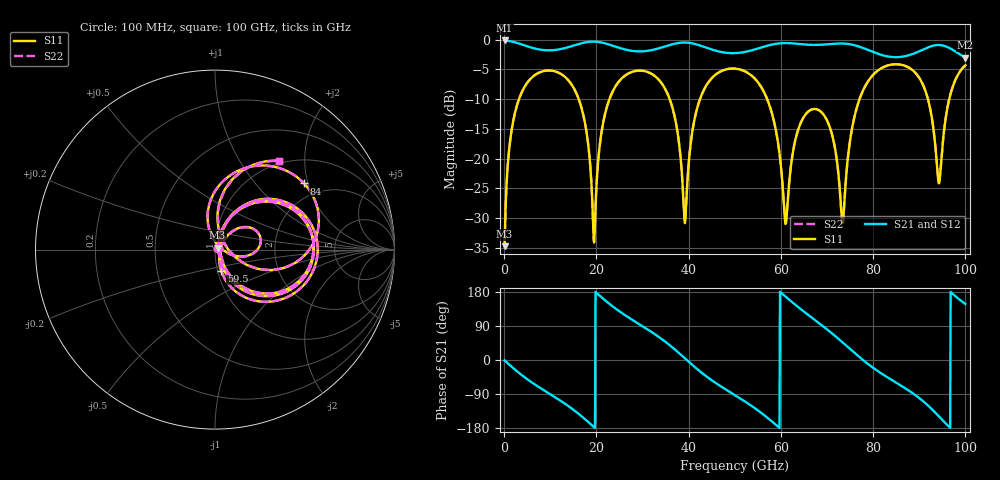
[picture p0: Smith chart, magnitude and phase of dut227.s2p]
! Touchstone file exported from HFSS 2026.1.0
!  File:  C:/ffzhzh/LocalFiles/Ansys_Project_Files/temp_train_TSV_RDL_227_1783664207_26216.aedt
!  Generated:  02:25:58 PM Jul 10, 2026
!  Design:  TSV_RDL
!  Project:  temp_train_TSV_RDL_227_1783664207_26216
! Variables:
!  h_bsmrdl = 3.7um
!  h_ox = 20um
!  h_rdl = 5um
!  h_sub = 68.25um
!  h_tmrdl = 2.59um
!  h_tsv = 68.25um
!  h_via = 3um
!  l_bsmrdl = 470.42um
!  l_sub = 3118.3um
!  l_tmrdl = 291.99um
!  m_sub = 200um
!  pitch = 55.98um
!  r_tsv = 10.13um
!  s_tmrdl = 10um
!  w_bsmrdl = 21.69um
!  w_sub = 500um
!  w_tmrdl = 24.67um
!  x_tsv_center1 = 304.325um
!  x_tsv_center2 = 796.435um
!  x_tsv_center3 = 1113.095um
!  x_tsv_center4 = 1605.205um
!  x_tsv_center5 = 1921.865um
!  x_tsv_center6 = 2413.975um
# GHz S MA R 50.000000
! Terminal data exported
! Port[1] = TM_RDL1_1_T1
! Port[2] = TM_RDL5_1_T1
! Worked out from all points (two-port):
!   1000 points, 100 MHz to 100 GHz, reference 50 ohm
!   highest |S21| = -0.12 dB at 100 MHz (marker M1); lowest = -3.0 dB at 100 GHz (marker M2)
!   |S21| within 3 dB of the highest: start of sweep to end of sweep
!   lowest |S11| = -34.7 dB at 100 MHz (marker M3), VSWR 1.04, Z = 51.4 + j1.19 ohm
!   |S11| at or under -10 dB: 16.17 GHz to 22.82 GHz (6.656 GHz wide, 34.1 % of centre); 35.89 GHz to 42.45 GHz (6.562 GHz wide, 16.8 % of centre); 57.03 GHz to 77.04 GHz (20.01 GHz wide, 29.9 % of centre) (the widest 3 of 5)
!   |S22| runs from -34.7 to -4.1 dB; largest |S21 - S12| = 3.2e-12
!   S11 on the Smith chart (normalised r, x): 100 MHz: 1.03, +0.02; 59.5 GHz: 1.04, -0.26; 84 GHz: 1.59, +1.89; 100 GHz: 0.95, +1.50
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0.1  0.01838 39.1  0.9859 -1.2  0.9859 -1.2  0.01838 39.1
! Gamma 0 0 0 0
! Port Impedance 50 0 50 0
1.7  0.1817 65.6  0.9651 -18.6  0.9651 -18.6  0.1817 65.6
4.8  0.4234 38.5  0.886 -48.9  0.886 -48.9  0.4234 38.5
16.8  0.2645 -56.2  0.9347 -148.6  0.9347 -148.6  0.2645 -56.2
19.5  0.01972 6.7  0.9637 -177.2  0.9637 -177.2  0.02009 6.5
23.5  0.365 48.2  0.8913 141.7  0.8913 141.7  0.365 48.2
33.4  0.4666 -27.1  0.8438 62.0  0.8438 62.0  0.4666 -27.0
37  0.2226 -56.3  0.9268 27.9  0.9268 27.9  0.2226 -56.0
39.2  0.02869 5.9  0.9472 4.3  0.9472 4.3  0.03006 6.0
42.6  0.3276 53.5  0.891 -31.5  0.891 -31.5  0.3279 53.3
50.1  0.571 -3.6  0.7713 -93.2  0.7713 -93.2  0.5711 -3.6
59.5  0.1259 -73.9  0.9302 -177.0  0.9302 -177.0  0.1264 -73.2
61.1  0.02855 -2.9  0.937 166.3  0.937 166.3  0.03022 -3.8
66.7  0.2592 20.1  0.9051 111.8  0.9051 111.8  0.2593 19.6
70.8  0.1743 -11.9  0.9197 73.0  0.9197 73.0  0.1742 -12.5
73.4  0.02884 48.5  0.9289 46.2  0.9289 46.2  0.02743 48.3
76.7  0.2885 93.8  0.8823 11.0  0.8823 11.0  0.2882 94.0
83.4  0.6113 40.7  0.7212 -48.0  0.7212 -48.0  0.6112 40.8
84  0.6181 36.6  0.7163 -52.5  0.7163 -52.5  0.618 36.6
90.9  0.4098 -13.7  0.8302 -109.4  0.8302 -109.4  0.4098 -13.5
94.3  0.06204 34.4  0.9026 -149.3  0.9026 -149.3  0.06438 34.3
100  0.6102 54.3  0.706 147.9  0.706 147.9  0.6104 53.9
